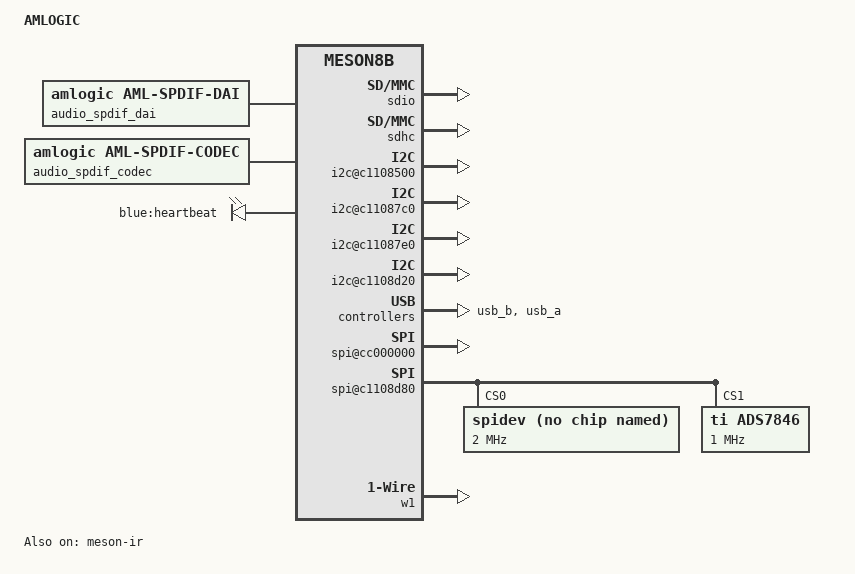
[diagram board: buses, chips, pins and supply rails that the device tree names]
/dts-v1/;
/{
        compatible = "AMLOGIC,8726_M8B";
        model = "AMLOGIC";
        interrupt-parent = <&gic>;
        #address-cells = <1>;
        #size-cells = <1>;

    cpus {
        #address-cells = <1>;
        #size-cells = <0>;
        cpu@0 {
                device_type = "cpu";
                compatible = "arm,cortex-a5";
                reg = <0x200>;
        };
        cpu@1 {
                device_type = "cpu";
                compatible = "arm,cortex-a5";
                reg = <0x1>;
        };
        cpu@2 {
                device_type = "cpu";
                compatible = "arm,cortex-a5";
                reg = <0x2>;
        };
        cpu@3 {
                device_type = "cpu";
                compatible = "arm,cortex-a5";
                reg = <0x3>;
        };
    };

    cache-controller {
          compatible = "arm,meson-pl310-cache";
          reg = <0xc4200000 0x1000>;
          arm,data-latency = <3 3 3>;
          arm,tag-latency = <2 2 2>;
          arm,filter-ranges = <0x100000 0xc0000000>;
          cache-unified;
          cache-level = <2>;
          aux-instruction_prefetch;
          aux-data_prefetch;
          aux-ns_lockdown;
          aux-force_no_write_alloc;
          aux-cache_replace_policy_round_robin;
          aux-early_write_response;
          aux-full_line_of_zero;
          aux-ns_int_ctrl;
          aux-share_override;
          prefetch-double_line_fill;
          prefetch-prefetch_drop;
          prefetch-prefetch_offset = <7>;
    };

        memory{
                device_type = "memory";
                aml_reserved_start = <0x06000000>; /**reserved memory start */
                aml_reserved_end = <0x05000000>;/**reserved memory end : dtb start for uboot*/
                phys_offset = <0x00200000>;
                linux,total-memory = <0x3fe00000>;
        #address-cells = <1>;
        #size-cells = <1>;

        };

        gic:interrupt-controller{
        compatible = "arm,cortex-a9-gic";
        reg = <0xc4301000 0x1000
               0xc4300100 0x0100>;
        interrupt-controller;
        #interrupt-cells = <3>;
        #address-cells = <0>;
    };

            meson-rng {
                    compatible = "amlogic,meson-rng";
                    status = "ok";
            };

    vpu{
                compatible = "amlogic,vpu";
                dev_name = "vpu";
                status = "ok";
                clk_level = <3>;
        };

        mesonfb{
                compatible = "amlogic,mesonfb";
                dev_name = "mesonfb";
                status = "okay";
                reserve-memory = <0x01800000  0x00100000>;
                reserve-iomap = "true";
                vmode = <0>; /**0:VMODE_720P 1:VMODE_LCD  2:VMODE_LVDS_1080P 3:VMODE_1080P*/
                scale_mode = <1>; /*0:default 1:new*/
                4k2k_fb = <0>;
                display_size_default = <1280 720 1280 1440 32>; //1920*1080*4*3 = 0x17BB000
        };

        mesonstream{
                compatible = "amlogic,mesonstream";
                dev_name = "mesonstream.0";
                status = "okay";
                reserve-memory = <0x02000000>; // 32M
                reserve-iomap = "true";
        };

        vdec{
                compatible = "amlogic,vdec";
                dev_name = "vdec.0";
                status = "okay";
                reserve-memory = <0x04000000>; // 64M
                reserve-iomap = "true";
        };

    ppmgr{
                compatible = "amlogic,ppmgr";
                dev_name = "ppmgr";
                status = "okay";
                reserve-memory = <0x01000000>; // 16M
        };

    ion_dev{
        compatible = "amlogic,ion_dev";
        dev_name = "ion_dev";
        status = "ok";
        share-memory-name = "ppmgr0";
        share-memory-offset = <0>;
        share-memory-size = <0x01000000>; //16M
    };
        mesonvout{
                compatible = "amlogic,mesonvout";
                dev_name = "mesonvout";
                status = "okay";
        };

    rtc{
                compatible = "amlogic,aml_rtc";
                status = "okay";
        };

        uart_ao{
                compatible = "amlogic,aml_uart";
                port_name = "uart_ao";
                status = "okay";
                dev_name = "uart_ao";
                pinctrl-names = "default";
                pinctrl-0 = <&ao_uart_pins>;
        };

        uart_1{
                compatible = "amlogic,aml_uart";
                port_name = "uart_b";
                status = "okay";
                dev_name = "uart_1";
        pinctrl-names = "default";
        pinctrl-0 = <&b_uart_pins>;
        };

    sdio{
        compatible = "amlogic,aml_sdio";
        dev_name = "aml_sdio.0";
        status = "okay";
        reg = <0xc1108c20 0x20>;
        pinctrl-names = "sd_clk_cmd_pins", "sd_all_pins", "emmc_clk_cmd_pins", "emmc_all_pins", "sdio_clk_cmd_pins", "sdio_all_pins","sd_1bit_pins"; // "jtag_pin", "uartao_default";
        pinctrl-0 = <&sd_clk_cmd_pins>;
        pinctrl-1 = <&sd_all_pins>;
        pinctrl-2 = <&emmc_clk_cmd_pins>;
        pinctrl-3 = <&emmc_all_pins>;
        pinctrl-4 = <&sdio_clk_cmd_pins>;
        pinctrl-5 = <&sdio_all_pins>;
        pinctrl-6 = <&sd_1bit_pins>;

        emmc{
            status = "okay";
            port = <2>;          /**0:sdio_a, 1:sdio_b, 2:sdio_c, 3:sdhc_a, 4:sdhc_b, 5:sdhc_c */
            pinname = "emmc";
            ocr_avail = <0x200000>;          /**VDD voltage 3.3 ~ 3.4 */
            caps = "MMC_CAP_4_BIT_DATA","MMC_CAP_MMC_HIGHSPEED","MMC_CAP_SD_HIGHSPEED", "MMC_CAP_NONREMOVABLE","MMC_CAP_ERASE", "MMC_CAP_HW_RESET"; // MMC_CAP_NEEDS_POLL -- for detect, MMC_CAP_NONREMOVABLE -- for eMMC/TSD
            caps2 = "MMC_CAP2_BOOTPART_NOACC";
            f_min = <300000>;
            f_max = <50000000>;
            f_max_w = <50000000>;
            max_req_size = <0x20000>;          /**128KB*/
            gpio_dat3 = "BOOT_3";
            card_type = <1>; /* 0:unknown, 1:mmc card(include eMMC), 2:sd card(include tSD), 3:sdio device(ie:sdio-wifi), 4:SD combo (IO+mem) card, 5:NON sdio device(means sd/mmc card), other:reserved */
        };

        sd{
            status = "okay";
            port = <1>;          /**0:sdio_a, 1:sdio_b, 2:sdio_c, 3:sdhc_a, 4:sdhc_b, 5:sdhc_c */
            pinname = "sd";
            ocr_avail = <0x200000>;          /**VDD voltage 3.3 ~ 3.4 */
            caps = "MMC_CAP_4_BIT_DATA","MMC_CAP_MMC_HIGHSPEED","MMC_CAP_SD_HIGHSPEED";
            f_min = <300000>;
            f_max = <50000000>;
            f_max_w = <50000000>;
            max_req_size = <0x20000>;          /**128KB*/
            gpio_dat3 = "CARD_4";
            gpio_cd = "CARD_6";
            gpio_volsw = "GPIOAO_3";
            irq_in = <3>;
            irq_out = <5>;
            card_type = <5>; /* 0:unknown, 1:mmc card(include eMMC), 2:sd card(include tSD), 3:sdio device(ie:sdio-wifi), 4:SD combo (IO+mem) card, 5:NON sdio device(means sd/mmc card), other:reserved */
        };
    };

    sdhc{
        compatible = "amlogic,aml_sdhc";
        dev_name = "aml_sdhc.0";
        status = "okay";
        reg = <0xc1108e00 0x3c>;
        pinctrl-names = "sdhc_sd_clk_cmd_pins", "sdhc_sd_all_pins", "sdhc_emmc_clk_cmd_pins", "sdhc_emmc_all_pins", "sdhc_sdio_clk_cmd_pins", "sdhc_sdio_all_pins";
        pinctrl-0 = <&sdhc_sd_clk_cmd_pins>;
        pinctrl-1 = <&sdhc_sd_all_pins>;
        pinctrl-2 = <&sdhc_emmc_clk_cmd_pins>;
        pinctrl-3 = <&sdhc_emmc_all_pins>;
        pinctrl-4 = <&sdhc_sdio_clk_cmd_pins>;
        pinctrl-5 = <&sdhc_sdio_all_pins>;
        //pinctrl-6 = <&sd_1bit_pins>;

         sd{
             status = "okay";
             port = <4>;          /**0:sdhc_a, 1:sdio_b, 2:sdio_c, 3:sdhc_a, 4:sdhc_b, 5:sdhc_c */
             pinname = "sd";
             ocr_avail = <0x00200080>; // 3.3:0x200000, 1.8+3.3:0x00200080
             caps = "MMC_CAP_4_BIT_DATA","MMC_CAP_MMC_HIGHSPEED","MMC_CAP_SD_HIGHSPEED","MMC_CAP_UHS_SDR12","MMC_CAP_UHS_SDR25","MMC_CAP_UHS_SDR50","MMC_CAP_UHS_SDR104";
             f_min = <300000>;
             f_max = <100000000>;
             max_req_size = <0x20000>;          /**128KB*/
             gpio_dat3 = "CARD_4";
             //jtag_pin = "CARD_0";
             gpio_cd = "CARD_6";
             //gpio_ro = "GPIOZ_0";
             gpio_volsw = "GPIOAO_3";
             irq_in = <3>;
             irq_out = <5>;
             card_type = <5>; /* 0:unknown, 1:mmc card(include eMMC), 2:sd card(include tSD), 3:sdio device(ie:sdio-wifi), 4:SD combo (IO+mem) card, 5:NON sdio device(means sd/mmc card), other:reserved */
         };

        emmc{
            status = "okay";
            port = <5>;          /**0:sdio_a, 1:sdio_b, 2:sdio_c, 3:sdhc_a, 4:sdhc_b, 5:sdhc_c */
            pinname = "emmc";
            ocr_avail = <0x00200080>;          /**VDD voltage 3.3 ~ 3.4 */
            caps = "MMC_CAP_8_BIT_DATA","MMC_CAP_MMC_HIGHSPEED","MMC_CAP_SD_HIGHSPEED", "MMC_CAP_NONREMOVABLE","MMC_CAP_ERASE", "MMC_CAP_HW_RESET"; // MMC_CAP_NEEDS_POLL -- for detect, MMC_CAP_NONREMOVABLE -- for eMMC/TSD
            caps2 = "MMC_CAP2_HS200_1_8V_SDR", "MMC_CAP2_BOOTPART_NOACC";
	        f_min = <300000>;
            f_max = <100000000>;
            max_req_size = <0x20000>;          /**128KB*/
            gpio_dat3 = "BOOT_3";
            card_type = <1>; /* 0:unknown, 1:mmc card(include eMMC), 2:sd card(include tSD), 3:sdio device(ie:sdio-wifi), 4:SD combo (IO+mem) card, 5:NON sdio device(means sd/mmc card), other:reserved */
        };
    };

    i2c@c1108500{ /*I2C-A*/
                compatible = "amlogic,aml_i2c";
                dev_name = "i2c-A";
                status = "ok";
                reg = <0xc1108500 0x20>;
                device_id = <1>;
                pinctrl-names="default";
                pinctrl-0=<&a_i2c_master>;
                #address-cells = <1>;
                #size-cells = <0>;
                use_pio = <0>;
                master_i2c_speed = <100000>;
        };

        i2c@c11087c0{ /*I2C-B*/
                compatible = "amlogic,aml_i2c";
                dev_name = "i2c-B";
                status = "ok";
                reg = <0xc11087c0 0x20>;
                device_id = <2>;
                pinctrl-names="default";
                pinctrl-0=<&b_i2c_master>;
                #address-cells = <1>;
                #size-cells = <0>;
                use_pio = <0>;
                master_i2c_speed = <100000>;
        };

    i2c@c11087e0{ /*I2C-C*/
                compatible = "amlogic,aml_i2c";
                dev_name = "i2c-C";
                status = "ok";
                reg = <0xc11087e0 0x20>;
                device_id = <3>;
                pinctrl-names="default";
//              pinctrl-0=<&c_i2c_master>;
                #address-cells = <1>;
                #size-cells = <0>;
                use_pio = <0>;
                master_i2c_speed = <300000>;
        };

        i2c@c1108d20{ /*I2C-D*/
                compatible = "amlogic,aml_i2c";
                dev_name = "i2c-D";
                status = "ok";
                reg = <0xc1108d20 0x20>;
                device_id = <4>;
                pinctrl-names="default";
//              pinctrl-0=<&d_i2c_master>;
                #address-cells = <1>;
                #size-cells = <0>;
                use_pio = <0>;
                master_i2c_speed = <300000>;
        };

    dvfs {
        compatible = "amlogic, amlogic-dvfs";                   /** fixed for driver, don't change       */
        #address-cells = <1>;
        #size-cells = <0>;
        status = "ok";

        vcck_dvfs {
            dvfs_id     = <1>;                                  /** must be value of (1 << n)            */
            table_count = <15>;                                 /** must be correct count for dvfs_table */
            /*change-frequent-only;*/
            dvfs_table  = <
            /* NOTE: frequent in this table must be ascending order */
            /* frequent(Khz)    min_uV      max_uV                  */
                  96000         825000      825000
                 192000         825000      825000
                 312000         825000      825000
                 408000         825000      825000
                 504000         825000      825000
                 600000         825000      825000
                 720000         825000      825000
                 816000         850000      850000
                1008000         875000      875000
                1200000         925000      925000
                1320000        1100000     1100000
                1488000        1100000     1100000
		1536000	       1140000     1140000
		1632000	       1150000     1150000
                1728000        1160000     1160000
            >;
        };
    };

    meson_vcck_dvfs_driver{
        compatible = "amlogic, meson_vcck_dvfs";
        dev_name = "meson_vcck_dvfs_driver";
        status = "ok";
        pinctrl-names = "default";
        pinctrl-0 = <&aml_pwm_pins>;
        use_pwm = <1>;
        pmw_controller = "PWM_C";
        table_count = <29>;
        cs_voltage_table = <
		0x10f001b        860000
		0x1050025        870000
		0x0fc002e        880000
		0x0f30037        890000
		0x0ea0040        900000
		0x0e10049        910000
		0x0d60054        920000
		0x0cb005f        930000
		0x0c0006a        940000
		0x0b50075        950000
		0x0aa0080        960000
		0x0a0008a        970000
		0x0960094        980000
		0x08d009d        990000
		0x07b00af        1000000
		0x07200b8        1010000
		0x06900c1        1020000
		0x06000ca        1030000
		0x05700d3        1040000
		0x04e00dc        1050000
		0x04500e5        1060000
		0x03c00ee        1070000
		0x03300f7        1080000
		0x02a0100        1090000
		0x0180109        1100000
		0x00f011b        1110000
		0x00a0120        1120000
		0x0050125        1130000
		0x000012a        1140000
        >;
    };

    arm_pmu {
        compatible = "arm,cortex-a9-pmu";
        status = "ok";
        interrupts = <0     137     0x04
                      0     138     0x04
                      0     153     0x04
                      0     154     0x04>;
    };


    usb_con {
                lm-compatible = "logicmodule-bus";

                usb_b{
                        lm-compatible = "amlogic,usb";
                        lm-periph-id = <1>; /** lm name */
                        clock-src = "usb1"; /** clock src */
                        port-id = <1>; /** ref to mach/usb.h */
                        port-type = <1>;        /** 0: otg, 1: host, 2: slave */
                        port-speed = <0>; /** 0: default, 1: high, 2: full */
                        port-config = <0>; /** 0: default */
                        port-dma = <0>; /** 0: default, 1: single, 2: incr, 3: incr4, 4: incr8, 5: incr16, 6: disable*/
                        port-id-mode = <1>; /** 0: hardware, 1: sw_host, 2: sw_slave*/
                        gpio-hub-rst = "GPIOAO_4";
                        status = "okay";
                };

                usb_a{
                        lm-compatible = "amlogic,usb";
                        lm-periph-id = <0>; /** lm name */
                        clock-src = "usb0"; /** clock src */
                        port-id = <0>;  /** ref to mach/usb.h */
                        port-type = <0>;        /** 0: otg, 1: host, 2: slave */
                        port-speed = <0>; /** 0: default, high, 1: full */
                        port-config = <0>; /** 0: default */
                        port-dma = <0>; /** 0: default, 1: single, 2: incr, 3: incr4, 4: incr8, 5: incr16, 6: disable*/
                        port-id-mode = <0>; /** 0: hardware, 1: sw_host, 2: sw_slave*/
                        gpio-vbus-power = "GPIOAO_5";
                        gpio-work-mask  = <1>; /**0: work on pulldown,1:work on pullup*/
                        status = "okay";
                };
        };

    audio_platform{
        compatible = "amlogic,aml-i2s";
        dev_name = "aml-i2s.0";
        status = "okay";
    };

    audio_dai{
        compatible = "amlogic,aml-i2s-dai";
        dev_name = "aml-i2s-dai.0";
        status = "okay";
    };
    audio_spdif_dai{
        compatible = "amlogic,aml-spdif-dai";
        dev_name = "aml-spdif-dai.0";
        status = "okay";
    };

    audio_spdif_codec{
        compatible = "amlogic,aml-spdif-codec";
        dev_name = "spdif-dit.0";
        pinctrl-names = "aml_audio_spdif";
        pinctrl-0 = <&audio_spdif_pins>;
        status = "okay";
    };

    audio_pcm_dai{
        compatible = "amlogic,aml-pcm-dai";
        dev_name = "aml-pcm-dai.0";
        status = "okay";
    };

    audio_pcm{
        compatible = "amlogic,aml-pcm";
        dev_name = "aml-pcm.0";
        status = "okay";
    };

    pcm5102{
        compatible = "hardkernel,pcm5102";
        dev_name = "pcm5102.0";
        status = "okay";
    };

    aml_m8_sound_card{
        compatible = "sound_card, aml_snd_m8";
        aml,sound_card = "ODROID-HDMI";
        sleep_time = <130>;
        status = "okay";
    };

    odroid_sound_card{
        compatible = "sound_card, odroid_snd";
        aml,sound_card = "ODROID-DAC";
        pinctrl-names = "odroid_i2s";
        pinctrl-0 = <&audio_pins>;
        status = "okay";
    };

        saradc{
                compatible = "amlogic,saradc";
                status = "okay";
        };

        meson-ir {
                compatible = "amlogic,meson6-ir";
                reg = <0xc8100580 0x20>;
                interrupts = <0 15 1>;
                pinctrl-names = "default";
                pinctrl-0 = <&remote_pins>;
                pulse-inverted;
                status = "ok";
        };

    spi@cc000000{
                compatible = "amlogic,apollo_spi_nor";
                status = "ok";
                reg = <0xcc000000 0x04000000>;
                pinctrl-names = "default";
                pinctrl-0 = <&aml_spi_nor_pins>;

                nr-parts = <2>;
                nr-part-0 = <&bootloader>;
                nr-part-1 = <&ubootenv>;

                bootloader:bootloader{
                        name = "bootloader";
                        offset = <0>;
                        size = <0x100000>;
                };

                ubootenv:ubootenv{
                        name = "ubootenv";
                      offset = <0x100000>;
                      size = <0x10000>;
                };
        };

    spi@c1108d80 {
        #address-cells = <1>;
        #size-cells = <0>;
        compatible = "amlogic,spicc";
        dev_name = "spicc";
        status = "okay";
        reg = <0xc1108d80 0x28>;
        pinctrl-names="default";
        pinctrl-0=<&aml_spicc_pins>;
        device_id = <0>;
        num_chipselect = <2>;
        cs_gpios = "GPIOX_20", "GPIOX_21";

        spidev@0 {
            spi-max-frequency = <2000000>;
            compatible = "spidev";
            reg = <0>;
        };
		/* SPI Touch Screen Define */
		ads7846@1 {
			spi-max-frequency = <1000000>;

            /*
			    Driver Select : "ti,tsc2046", "ti,ads7843", "ti,ads7845", "ti,ads7846", "ti,ads7873"
			        kernel/drivers/hardkernel/ads7846.c
			*/
			compatible = "ti,ads7846";

            /*
                SPI Chip Select : (0 ~ 1)
                    Chip Select = GPIOX_21 (CS1)
            */
			reg = <1>;

            /* AMLogic Interrupt Define */
            /*
                IRQ Source : (GPIO_IRQ0(0) ~ GPIO_IRQ7(7))
            */
            irq-source = <0>;

            /*
                IRQ Filter Select : (0 ~ 7)
                    Value 0 : No Filtering, Value 1 ~ 7 : value * 3 * 111nS(delay)
            */
            irq-filter = <7>;   /* 258.741us Delay */

            /*
                IRQ Trigger Select : (0 ~ 3)
                    GPIO_IRQ_HIGH = 0, GPIO_IRQ_LOW = 1, GPIO_IRQ_RISING = 2, GPIO_IRQ_FALLING = 3
            */
            irq-trigger = <3>;  /* GPIO_IRQ_FALLING (Trigger Interrupt) */

            /* Used Pen Down GPIO(IRQ GPIO) Select */
            pendown-gpio = "GPIOY_8";

	    ti,moving-average = <1>;
	    ti,mv-avg-length = <20>;
	    ti,swap-xy = <1>;
            ti,x-min = <0>;
            ti,x-max = <8000>;
            ti,y-min = <0>;
            ti,y-max = <4800>;
            ti,x-plate-ohms = <40>;
            ti,pressure-min = <0>;
            ti,pressure-max = <255>;

            linux,wakeup;
		};
    };

    efuse{
                compatible = "amlogic,efuse";
                dev_name = "efuse";
                status = "okay";
                plat-pos = <0 454>;
                plat-count = <58>;
                usid-min = <8>; /*reserved*/
                usid-max = <31>; /*reserved*/
        };

        thermal{
                compatible = "amlogic-thermal";
                #thermal-cells=<7>;
                dev_name = "aml_thermal";
        trip_point=<70 1488001 1488001 511 511 3 2
                    80 1200001 1200001 435 435 2 2
                    90  800001  800001 328 328 1 1
                    110 0xffffffff 0xffffffff 0xffffffff 0xffffffff 0xffffffff 0xffffffff>;
                cpu_cali_a=<0>;
                idle_interval=<1000>;
        use_virtual_thermal;
        freq_sample_period=<30>;
        report_time=<1 10 30 60>;         /* based on freq_sample_period */
        cpu_virtual=<
             500000  40  40  40  40
             600000  45  55  60  65
             800000  50  60  65  70
            1000000  55  65  70  75
            1200000  60  70  75  80
            1350000  65  75  80  85
        >;
        gpu_virtual=<
            183      40  40  40  40
            251      40  45  50  55
            319      50  60  65  70
            426      55  65  70  75
            511      60  70  75  80
        >;
        };

    amhdmitx{
                compatible = "amlogic,amhdmitx";
                dev_name = "amhdmitx";
                status = "ok";
        vend-data = <&vend_data>;
        pwr-ctrl = <&pwr_ctrl>;

        vend_data: vend_data{
            vendor_name = "Hardkernel";           /* Max Chars: 8     */
            vendor_id = <0x000000>;                 /* Refer to http://standards.ieee.org/develop/regauth/oui/oui.txt   */
            product_desc = "ODROID-C1";        /* Max Chars: 16    */
            cec_osd_string = "ODROID-C1";        /* Max Chars: 14    */
            ao_cec = <0x000001>;
        };

        pwr_ctrl: pwr_ctrl{
            pwr_5v_on = "";
            pwr_5v_off = "";
            pwr_3v3_on = "";
            pwr_3v3_off = "";
            pwr_hpll_vdd_on = "";
            pwr_hpll_vdd_off = "";
        };
        };

    aml_pm{
                compatible = "amlogic,pm-m8";
                dev_name = "aml_pm_m8";
                status = "okay";
        };

    cpufreq-meson{
        compatible = "amlogic,cpufreq-meson";
	syspll_fixed;
        status = "okay";
    };

    crypto_device{
       compatible = "amlogic,crypto-device";
       dev_name = "crypto_device";
    };

        gpio:gpio{
                compatible = "amlogic,m8b-gpio";
                dev_name = "gpio";
                #gpio-cells=<2>;
        };

    pinmux{
                compatible = "amlogic,pinmux-m8b";
                dev_name = "pinmux";
                #pinmux-cells=<2>;

                ao_uart_pins:ao_uart{
                        amlogic,setmask=<10 0x1800>;
                        amlogic,pins="GPIOAO_0", "GPIOAO_1";
                        amlogic,pullup=<1>;
                        amlogic,pullupen=<1>;
                };

//              a_uart_pins:a_uart{
//                      amlogic,setmask=<4 0x3c00>;
//                      amlogic,pins="GPIOX_12", "GPIOX_13", "GPIOX_14", "GPIOX_15";
//              };

                b_uart_pins:b_uart{
                        amlogic,setmask=<4 0x0300>;
                        amlogic,pins="GPIOX_16", "GPIOX_17";
                        amlogic,pullup=<1>;
                        amlogic,pullupen=<1>;
                };

                nand_input_state:nand_input{
                        amlogic,pins = "BOOT_0","BOOT_1","BOOT_2","BOOT_3","BOOT_4",
                                                "BOOT_5","BOOT_6","BOOT_7","BOOT_12","BOOT_13",
                                                "BOOT_8","BOOT_9","BOOT_10","BOOT_11",
                                                "BOOT_14","BOOT_15","BOOT_16","BOOT_17";
                        amlogic,enable-output=<1>;
                };

                conf_nand_state: conf_nand{
                        amlogic,pins = "BOOT_0","BOOT_1","BOOT_2","BOOT_3","BOOT_4",
                                                "BOOT_5","BOOT_6","BOOT_7","BOOT_15";
                        amlogic,pullup=<0>;
                };

                nand_base: nand{
                        amlogic,setmask=<2 0x7fe0000>;
                        amlogic,clrmask=<       5 0xe
                                                        6 0x3f000000
                                                        4 0x7c000000>;
                        amlogic,pins = "BOOT_0","BOOT_1","BOOT_2","BOOT_3","BOOT_4",
                                                "BOOT_5","BOOT_6","BOOT_7","BOOT_8","BOOT_9",
                                                "BOOT_10","BOOT_12","BOOT_13",
                                                "BOOT_14","BOOT_15","BOOT_16","BOOT_17";
                };

                sdhc_b_pins:sdhc_b_pin{
                        amlogic,setmask=<2 0xfc00>;
                        amlogic,clrmask=<2 0xf0 8 0x600>;
                        amlogic,pins="CARD_0","CARD_1","CARD_2","CARD_3","CARD_4","CARD_5";
                };

                sdhc_c_pins:sdhc_c_pin{
                        amlogic,setmask=<6 0x3f000000>;
                        amlogic,clrmask=<4 0x6c000000 2 0x4c00000>;
                        amlogic,pins="BOOT_0","BOOT_1","BOOT_2","BOOT_3","BOOT_10","BOOT_11";
                };

                sdhc_a_pins:sdhc_a_pin{
                        amlogic,setmask=<8 0x3f>;
                        amlogic,clrmask=<5 0x6c00 >;
                        amlogic,pins="GPIOX_0","GPIOX_1","GPIOX_2","GPIOX_3","GPIOX_8","GPIOX_9";
                };

        sdio_all_pins:sdio_all_pins{
            amlogic,setmask=<8 0x0000003f>;         /*sdio a*/
            amlogic,clrmask=<6 0x3f000000           /*sdio c*/
                                2 0x0000fc00        /*sdio b*/
                                5 0x00006c00>;      /*sdhc a*/
            amlogic,pins = "GPIOX_0","GPIOX_1","GPIOX_2","GPIOX_3","GPIOX_8","GPIOX_9";
            amlogic,enable-output=<1>; /** 0:output, 1:input */
            amlogic,pullup=<1>;
            amlogic,pullupen=<1>;
        };

        sdio_clk_cmd_pins:sdio_clk_cmd_pins{
            amlogic,setmask=<8 0x00000003>;         /*sdio a*/
            amlogic,clrmask=<6 0x3f000000           /*sdio c*/
                                2 0x0000fc00        /*sdio b*/
                                5 0x00006c00>;      /*sdhc a*/
            amlogic,pins = "GPIOX_8","GPIOX_9"; /** GPIOX_8:CLK, GPIOX_9:CMD */
            amlogic,enable-output=<1>; /** 0:output, 1:input */
            amlogic,pullup=<1>;
            amlogic,pullupen=<1>;
        };

        sd_all_pins:sd_all_pins{
            amlogic,setmask=<2 0x0000fc00>;         /*sdio b*/
            amlogic,clrmask=<6 0x3f000000           /*sdio c*/
                                8 0x0000063f        /*sdio a, UART*/
                                2 0x000000f0>;      /*sdhc b*/
            amlogic,pins = "CARD_0","CARD_1","CARD_2","CARD_3","CARD_4","CARD_5";
            amlogic,enable-output=<1>; /* 0:output, 1:input */
            amlogic,pullup=<1>;
            amlogic,pullupen=<1>;
        };

        sd_1bit_pins:sd_1bit_pins{
            amlogic,setmask=<2 0x00008c00>;         /*sdio b*/
            amlogic,clrmask=<6 0x3f000000           /*sdio c*/
                                8 0x0000003f        /*sdio a*/
                                2 0x000000f0>;      /*sdhc b*/
            amlogic,pins = "CARD_0","CARD_1","CARD_2","CARD_3","CARD_4","CARD_5";
            amlogic,enable-output=<1>; /* 0:output, 1:input */
            amlogic,pullup=<1>;
            amlogic,pullupen=<1>;
        };

        sd_clk_cmd_pins:sd_clk_cmd_pins{
            amlogic,setmask=<2 0x00000c00>;         /*sdio b*/
            amlogic,clrmask=<6 0x3f000000           /*sdio c*/
                                8 0x0000003f        /*sdio a*/
                                2 0x000000f0>;      /*sdhc b*/
            amlogic,pins = "CARD_2","CARD_3"; /** CARD_2:CLK, CARD_3:CMD */
            amlogic,enable-output=<1>; /** 0:output, 1:input */
            amlogic,pullup=<1>;
            amlogic,pullupen=<1>;
        };

        emmc_all_pins:emmc_all_pins{
            amlogic,setmask=<6 0xfc000000>;         /*sdio c*/
            amlogic,clrmask=<2 0x06c2fc00           /*sdio b & nand*/
                                8 0x0000003f        /*sdio a*/
                                4 0x6c000000>;        /*sdhc c*/
            amlogic,pins = "BOOT_0","BOOT_1","BOOT_2","BOOT_3","BOOT_8","BOOT_10";
            amlogic,enable-output=<1>; /** 0:output, 1:input */
            amlogic,pullup=<1>;
            amlogic,pullupen=<1>;
        };

        emmc_clk_cmd_pins:emmc_clk_cmd_pins{
            amlogic,setmask=<6 0xc0000000>;         /*bit[30-31] */
            amlogic,clrmask=<2 0x06c2fc00           /*sdio b & nand   nand bit17 bit25*/
                                8 0x0000003f        /*sdio a*/
                                7 0xc0000>;        /*sdhc c bit 18-19*/
            amlogic,pins = "BOOT_8","BOOT_10"; /** BOOT_10:CMD, BOOT_8:CLK */
            amlogic,enable-output=<1>; /** 0:output, 1:input */
            amlogic,pullup=<1>;
            amlogic,pullupen=<1>;
        };

        sdhc_sd_clk_cmd_pins:sdhc_sd_clk_cmd_pins{
            amlogic,setmask=<2 0x00000030>;         /*sdhc b*/
            amlogic,clrmask=<5 0x00007c00           /*sdhc a*/
                                4 0x7c000000        /*sdhc c*/
                                2 0x0000fc00        /*sdio b*/
                                8 0x00000600>;      /*UART*/
            amlogic,pins = "CARD_2","CARD_3"; /* CARD_2:CLK, CARD_3:CMD */
            amlogic,enable-output=<1>; /* 0:output, 1:input */
            amlogic,pullup=<1>;
            amlogic,pullupen=<1>;
        };
        sdhc_sd_all_pins:sdhc_sd_all_pins{
            amlogic,setmask=<2 0x000000f0>;         /*sdhc b*/
            amlogic,clrmask=<5 0x00007c00           /*sdhc a*/
                                4 0x7c000000        /*sdhc c*/
                                2 0x0000fc00        /*sdio b*/
                                8 0x00000600>;      /*UART*/
            amlogic,pins="CARD_0","CARD_1","CARD_2","CARD_3","CARD_4","CARD_5";
            amlogic,enable-output=<1>; /* 0:output, 1:input */
            amlogic,pullup=<1>;
            amlogic,pullupen=<1>;
        };
        sdhc_emmc_clk_cmd_pins:sdhc_emmc_clk_cmd_pins{
            amlogic,setmask=<7 0xc0000>;         /*bit[18-19] */
            amlogic,clrmask=<2 0x04c000f0           /*sdhc b & nand*/
                                5 0x00007c00        /*sdhc a*/
                                6 0xff000000>;        /*sdio c*/
            amlogic,pins = "BOOT_8","BOOT_10"; /** BOOT_10:CMD, BOOT_8:CLK */
            amlogic,enable-output=<1>; /** 0:output, 1:input */
            amlogic,pullup=<1>;
            amlogic,pullupen=<1>;
        };
        sdhc_emmc_all_pins:sdhc_emmc_all_pins{
            amlogic,setmask=<4 0x70000000
                             7 0xc0000>;         /*sdhc c*/
            amlogic,clrmask=<2 0x04c000f0           /*sdhc b & nand*/
                                5 0x00007c00        /*sdhc a*/
                                6 0xff000000>;        /*sdio c*/
            amlogic,pins = "BOOT_0","BOOT_1","BOOT_2","BOOT_3","BOOT_4","BOOT_5","BOOT_6","BOOT_7","BOOT_8","BOOT_10";
            amlogic,enable-output=<1>; /** 0:output, 1:input */
            amlogic,pullup=<1>;
            amlogic,pullupen=<1>;
        };
        sdhc_sdio_clk_cmd_pins:sdhc_sdio_clk_cmd_pins{
            amlogic,setmask=<5 0x00000c00>;         /*sdhc a bit[10-11] */
            amlogic,clrmask=<2 0x058000f0           /*sdhc b*/
                                4 0x7c000000        /*sdhc c */
                                8 0x0000003f>;        /*sdio a*/
            amlogic,pins = "GPIOX_8","GPIOX_9"; /** BOOT_16:CMD, BOOT_17:CLK */
            amlogic,enable-output=<1>; /** 0:output, 1:input */
            amlogic,pullup=<1>;
            amlogic,pullupen=<1>;
        };
        sdhc_sdio_all_pins:sdhc_sdio_all_pins{
            amlogic,setmask=<5 0x00006c00>;         /*sdhc a*/
            amlogic,clrmask=<2 0x058000f0           /*sdhc b*/
                                4 0x7c000000        /*sdhc c */
                                8 0x0000003f>;        /*sdio a*/
            amlogic,pins = "GPIOX_0","GPIOX_1","GPIOX_2","GPIOX_3","GPIOX_8","GPIOX_9";
            amlogic,enable-output=<1>; /** 0:output, 1:input */
            amlogic,pullup=<1>;
            amlogic,pullupen=<1>;
        };

                ao_i2c_master:ao_i2c{
                        amlogic,setmask=<10 0x60>;
                        amlogic,clrmask=<10 0x1800006>;
                        amlogic,pins="GPIOAO_4","GPIOAO_5";
                };

                a_i2c_master:a_i2c{
                        amlogic,setmask=<9 0xC0000000>;
                        amlogic,clrmask=<0 0x3C0300
                                         6 0xC00000
                                         8 0x1800000>;
                        amlogic,pins="GPIODV_24","GPIODV_25";
                };

                b_i2c_master:b_i2c{
                        amlogic,setmask=<9 0x30000000>;
                        amlogic,clrmask=<0 0x480
                                         6 0x300000
                                         8 0x10780000>;
                        amlogic,pins="GPIODV_26","GPIODV_27";
                };

// MATCH "I2C_D_pin_match" = "&d_i2c_master"
// L2 PROP_U32 2 = "amlogic,setmask"
// L2 PROP_STR 2 = "amlogic,pins"
//              d_i2c_master:d_i2c{
//                      amlogic,setmask=<4 0xc>;
//                      amlogic,pins="GPIOH_7","GPIOH_8";
//              };

        remote_pins:remote_pin{
                        amlogic,setmask=<10 0x1>;
                        amlogic,pins="GPIOAO_7";
                };

        audio_spdif_pins:audio_pin1{
            amlogic,setmask=<10 0x00010000>;
            amlogic,clrmask=<10 0x00040000
			      1 0x00002000>;
            amlogic,pins ="GPIOAO_6";
        };

        audio_pins:audio_pin{
            amlogic,setmask=<10 0x78000000>;
            amlogic,pins = "GPIOAO_8","GPIOAO_9","GPIOAO_10","GPIOAO_11";
        };

                aml_spi_nor_pins: aml_spi_nor_pins{
                        amlogic,setmask=<5 0xf>;
                        amlogic,clrmask=<2 0x380000>;
                        amlogic,pins = "BOOT_11","BOOT_12","BOOT_13","BOOT_18";
                };

                aml_spicc_pins: aml_spicc_pins{
                        amlogic,setmask=<4 0x03c00000
                        >;
                        amlogic,clrmask=<3 0x004003C0
                                         5 0x00000C00
                                         6 0x000F0000
                                         7 0x80000000
                                         8 0x00000003
                                         9 0x00080000>;
                        amlogic,pins = "GPIOX_8","GPIOX_9","GPIOX_10";
                };

		aml_pwm_pins:aml_pwm{
			amlogic,setmask=<3 0x1000000>;
			amlogic,clrmask=<0 0x48
					 7 0x10000020>;
			amlogic,pins="GPIODV_9";
		};

		odroid_pwm0:odroid_pwm0{
            amlogic,setmask=<2 0x00000008>;     /*GPIOX_11 PWM_B Reg2[3]*/
            amlogic,clrmask=<3 0x00100000
                             7 0x40000000>;     
            amlogic,pins="GPIOX_11";
		};
		odroid_pwm1:odroid_pwm1{
            amlogic,setmask=<2 0x00000008       /*GPIOX_11 PWM_B Reg2[3]*/
                             9 0x00080000>;     /*GPIOX_10 PWM_E Reg9[19]*/
            amlogic,clrmask=<3 0x00500100
                             4 0x00800000
                             6 0x00020000
                             7 0xc0000000>;
            amlogic,pins="GPIOX_11","GPIOX_10";
		};
    };
    meson-eth{
                compatible = "amlogic,meson-eth";
                dev_name = "meson-eth";
                status = "okay";
                ethbaseaddr = <0xfe0c0000>;
                interruptnum = <40>;
                savepowermode = <0>;
                phy_interface = <0>;
                new_maclogic = <1>;
                reset_pin_enable = <0>;
                reset_pin = "GPI0H_4";
                reset_delay = <100>;
                disable_phyrefclk;
        };

    leds {
        compatible = "gpio-leds";
        /* Blue LED */
        hearbeat {
            label = "blue:heartbeat";
            gpios = "GPIOAO_13";
            default-state = "off";
            linux,default-trigger = "heartbeat";
        };
    };

    pwm{
        compatible = "amlogic, odroid-pwm";
        dev_name = "meson_pwm";
        status = "ok";
        pinctrl-names = "odroid_pwm0","odroid_pwm1";
        pinctrl-0 = <&odroid_pwm0>;
        pinctrl-1 = <&odroid_pwm1>;
    };

    pwm-ctrl {
        compatible = "amlogic, pwm-ctrl";
        dev_name = "pwm-ctrl";
        status = "ok";
    };

	w1 {
		compatible = "w1-gpio";
		dev_name = "w1";
        status = "ok";
        gpios = "GPIOY_3";
        // linux,open-drain; // .is_open_drain = 1;
	};

	amvideocap{
		compatible = "amlogic,amvideocap";
		dev_name = "amvideocap.0";
		status = "okay";
		reserve-memory = <0x00a00000>; // 1920 * 1088 * 4 = 8,355,840
		reserve-iomap = "true";
	};


	amlogic-watchdog {
		compatible = "amlogic,aml-wdt";
        default_timeout=<10>;
        reset_watchdog_method=<0>;//0:sysfs,1:kernel
        reset_watchdog_time=<2>;
        shutdown_timeout=<10>;
        firmware_timeout=<6>;
        suspend_timeout=<6>;
    };


}; /* end of / */
